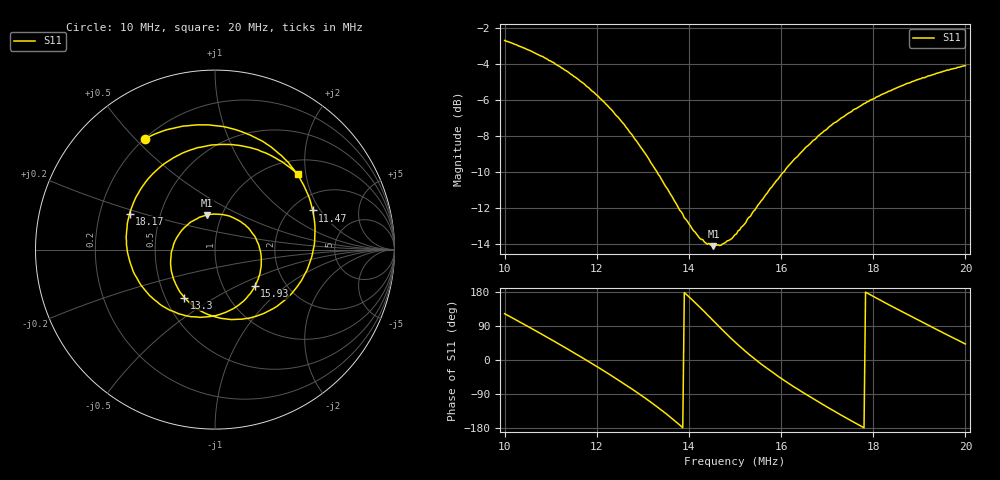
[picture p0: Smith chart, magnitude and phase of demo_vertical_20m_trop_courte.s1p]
! Quart d'onde 20 m trop court (resonance ~14.48 MHz), 15 m de RG58, balayage large
! Fichier de demonstration simule - Analyseur ROS NanoVNA F4CVQ
# HZ S RI R 50
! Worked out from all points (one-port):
!   301 points, 10 MHz to 20 MHz, reference 50 ohm
!   lowest |S11| = -14.1 dB at 14.53 MHz (marker M1), VSWR 1.49, Z = 42.6 + j16.9 ohm
!   |S11| at or under -10 dB: 13.3 MHz to 16.06 MHz (2.76 MHz wide, 18.8 % of centre)
!   S11 on the Smith chart (normalised r, x): 10 MHz: 0.20, +0.53; 11.47 MHz: 2.57, +1.71; 13.3 MHz: 0.62, -0.37; 15.93 MHz: 1.40, -0.63; 18.17 MHz: 0.33, +0.18; 20 MHz: 1.31, +1.80
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1e7  -0.3897 0.6188
1.026667e7  -0.1772 0.6882
1.06e7  0.0938 0.6741
1.09e7  0.3104 0.5733
1.126667e7  0.4936 0.3597
1.146667e7  0.5446 0.2182
1.193333e7  0.5138 -0.1118
1.223333e7  0.3963 -0.2753
1.25e7  0.2507 -0.3637
1.286667e7  0.0328 -0.3828
1.33e7  -0.1709 -0.267
1.376667e7  -0.2464 -0.0518
1.413333e7  -0.1891 0.1026
1.453333e7  -0.0452 0.1913
1.5e7  0.1428 0.1562
1.55e7  0.2551 -0.0192
1.593333e7  0.2213 -0.2047
1.626667e7  0.1166 -0.3194
1.686667e7  -0.1671 -0.3673
1.716667e7  -0.3106 -0.3017
1.75e7  -0.4307 -0.167
1.786667e7  -0.4935 0.0279
1.816667e7  -0.4762 0.2006
1.876667e7  -0.2667 0.4891
1.906667e7  -0.0978 0.5678
1.936667e7  0.0907 0.5854
1.966667e7  0.2798 0.5395
2e7  0.4611 0.4186
